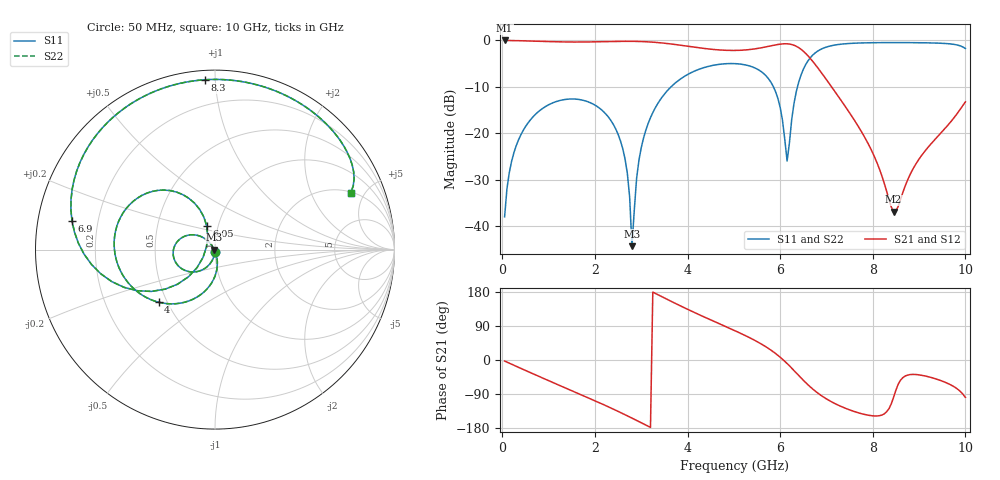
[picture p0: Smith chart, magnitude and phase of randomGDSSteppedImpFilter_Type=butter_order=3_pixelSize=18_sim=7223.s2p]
! freq	dB(S11)	phase(S11)	dB(S12)	phase(S12)
!  dB(S21)	phase(S21)	dB(S22)	phase(S22)
!S-par simulation data
#  GHz  S  DB  R 50
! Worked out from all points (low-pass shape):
!   200 points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, 50 MHz to 10 GHz, reference 50 ohm
!   highest |S21| = -0.01 dB at 50 MHz (marker M1); lowest = -36.8 dB at 8.45 GHz (marker M2)
!   |S21| within 3 dB of the highest: start of sweep to 6.572 GHz
!   lowest |S11| = -44.3 dB at 2.8 GHz (marker M3), VSWR 1.01, Z = 49.4 - j0.0327 ohm
!   |S11| at or under -10 dB: start of sweep to 3.642 GHz; 5.856 GHz to 6.374 GHz (518.6 MHz wide, 8.48 % of centre)
!   |S22| runs from -44.5 to -0.5 dB; largest |S21 - S12| = 0
!   S11 on the Smith chart (normalised r, x): 50 MHz: 1.00, -0.03; 4 GHz: 0.45, -0.32; 6.05 GHz: 0.88, +0.24; 6.9 GHz: 0.10, +0.10; 8.3 GHz: 0.05, +0.94; 10 GHz: 2.05, +3.95
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0.05  -37.94 -92.9  -0.01 -2.8  -0.01 -2.8  -37.94 -92.9
0.2  -26.06 -101.5  -0.03 -11.1  -0.03 -11.1  -26.06 -101.5
0.5  -18.56 -118.1  -0.10 -27.5  -0.10 -27.5  -18.56 -118.1
1.75  -12.89 175.6  -0.34 -94.0  -0.34 -94.0  -12.89 175.5
2.55  -21.55 132.9  -0.20 -138.5  -0.20 -138.5  -21.55 132.7
2.7  -28.57 127.2  -0.19 -147.3  -0.19 -147.3  -28.58 126.7
2.8  -44.26 -176.9  -0.19 -153.3  -0.19 -153.3  -44.55 -176.8
3  -23.10 -79.3  -0.24 -165.5  -0.24 -165.5  -23.10 -79.1
3.4  -12.92 -101.8  -0.49 169.8  -0.49 169.8  -12.92 -101.8
4  -7.34 -137.0  -1.24 133.8  -1.24 133.8  -7.34 -137.0
5.05  -5.01 166.3  -2.15 75.8  -2.15 75.8  -5.01 166.3
5.75  -8.26 123.9  -1.27 30.3  -1.27 30.3  -8.26 123.9
6.05  -17.15 109.5  -0.74 2.1  -0.74 2.1  -17.15 109.3
6.15  -25.94 160.0  -0.73 -9.3  -0.73 -9.3  -25.98 159.9
6.35  -10.94 -137.2  -1.26 -34.3  -1.26 -34.3  -10.95 -137.2
6.7  -3.19 -173.1  -4.46 -76.3  -4.46 -76.3  -3.19 -173.1
6.9  -1.81 168.7  -7.07 -94.9  -7.07 -94.9  -1.81 168.7
7.55  -0.62 127.4  -16.34 -133.9  -16.34 -133.9  -0.62 127.4
8.3  -0.46 93.5  -32.46 -136.5  -32.46 -136.5  -0.46 93.4
8.35  -0.46 91.4  -34.26 -128.5  -34.26 -128.5  -0.46 91.3
8.45  -0.46 87.3  -36.82 -98.2  -36.82 -98.2  -0.46 87.2
10  -1.73 22.8  -13.22 -98.6  -13.22 -98.6  -1.73 22.7
